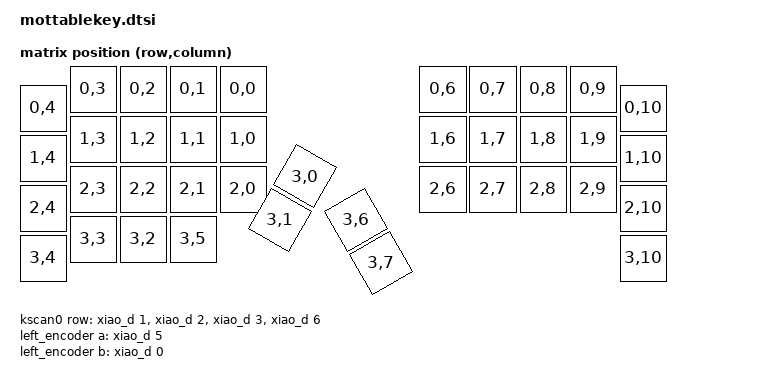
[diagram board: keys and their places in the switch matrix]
#include <dt-bindings/zmk/matrix_transform.h>
#include <physical_layouts.dtsi>

/ {
    chosen {
        zmk,physical-layout = &mottablekey_physical_layout;
    };

    mottablekey_physical_layout: mottablekey_physical_layout {
        compatible = "zmk,physical-layout";
        display-name = "Default";
        transform = <&default_transform>;
        kscan = <&kscan0>;

        keys
            = <&key_physical_attrs 100 100    0   38       0     0     0>
            , <&key_physical_attrs 100 100  100    0       0     0     0>
            , <&key_physical_attrs 100 100  200    0       0     0     0>
            , <&key_physical_attrs 100 100  300    0       0     0     0>
            , <&key_physical_attrs 100 100  400    0       0     0     0>
            , <&key_physical_attrs 100 100  800    0       0     0     0>
            , <&key_physical_attrs 100 100  900    0       0     0     0>
            , <&key_physical_attrs 100 100 1000    0       0     0     0>
            , <&key_physical_attrs 100 100 1100    0       0     0     0>
            , <&key_physical_attrs 100 100 1200   38       0     0     0>

            , <&key_physical_attrs 100 100    0  138       0     0     0>
            , <&key_physical_attrs 100 100  100  100       0     0     0>
            , <&key_physical_attrs 100 100  200  100       0     0     0>
            , <&key_physical_attrs 100 100  300  100       0     0     0>
            , <&key_physical_attrs 100 100  400  100       0     0     0>
            , <&key_physical_attrs 100 100  800  100       0     0     0>
            , <&key_physical_attrs 100 100  900  100       0     0     0>
            , <&key_physical_attrs 100 100 1000  100       0     0     0>
            , <&key_physical_attrs 100 100 1100  100       0     0     0>
            , <&key_physical_attrs 100 100 1200  138       0     0     0>

            , <&key_physical_attrs 100 100    0  238       0     0     0>
            , <&key_physical_attrs 100 100  100  200       0     0     0>
            , <&key_physical_attrs 100 100  200  200       0     0     0>
            , <&key_physical_attrs 100 100  300  200       0     0     0>
            , <&key_physical_attrs 100 100  400  200       0     0     0>
            , <&key_physical_attrs 100 100  800  200       0     0     0>
            , <&key_physical_attrs 100 100  900  200       0     0     0>
            , <&key_physical_attrs 100 100 1000  200       0     0     0>
            , <&key_physical_attrs 100 100 1100  200       0     0     0>
            , <&key_physical_attrs 100 100 1200  238       0     0     0>

            , <&key_physical_attrs 100 100    0  338       0     0     0>
            , <&key_physical_attrs 100 100  100  300       0     0     0>
            , <&key_physical_attrs 100 100  200  300       0     0     0>
            , <&key_physical_attrs 100 100  300  300       0     0     0>
            , <&key_physical_attrs 100 100  455  330 (-6000)   455   330>
            , <&key_physical_attrs 100 100  505  243 (-6000)   505   243>
            , <&key_physical_attrs 100 100  695  243    6000    695   243>
            , <&key_physical_attrs 100 100  745  330    6000    745   330>
            , <&key_physical_attrs 100 100 1200  338       0     0     0>
            ;
    };

    default_transform: keymap_transform_0 {
        compatible = "zmk,matrix-transform";
        columns = <11>;
        rows = <4>;
        map = <
            RC(0,4) RC(0,3) RC(0,2) RC(0,1) RC(0,0)                     RC(0,6) RC(0,7) RC(0,8) RC(0,9) RC(0,10)
            RC(1,4) RC(1,3) RC(1,2) RC(1,1) RC(1,0)                     RC(1,6) RC(1,7) RC(1,8) RC(1,9) RC(1,10)
            RC(2,4) RC(2,3) RC(2,2) RC(2,1) RC(2,0)                     RC(2,6) RC(2,7) RC(2,8) RC(2,9) RC(2,10)
            RC(3,4) RC(3,3) RC(3,2) RC(3,5) RC(3,1) RC(3,0)     RC(3,6) RC(3,7)                         RC(3,10)
        >;
    };

    kscan0: kscan {
        compatible = "zmk,kscan-gpio-matrix";
        label = "KSCAN";
        diode-direction = "col2row";
            row-gpios
                = <&xiao_d 1 (GPIO_ACTIVE_HIGH | GPIO_PULL_DOWN)>
                , <&xiao_d 2 (GPIO_ACTIVE_HIGH | GPIO_PULL_DOWN)>
                , <&xiao_d 3 (GPIO_ACTIVE_HIGH | GPIO_PULL_DOWN)>
                , <&xiao_d 6 (GPIO_ACTIVE_HIGH | GPIO_PULL_DOWN)>
                ;
    };

    left_encoder: encoder_left {
        compatible = "alps,ec11";
        a-gpios = <&xiao_d 5 (GPIO_ACTIVE_HIGH | GPIO_PULL_UP)>;
        b-gpios = <&xiao_d 0 (GPIO_ACTIVE_HIGH | GPIO_PULL_UP)>;
        steps = <24>;
        status = "disabled";
    };

    right_encoder: encoder_right {
        status = "disabled";
    };

    sensors: sensors {
        compatible = "zmk,keymap-sensors";
        sensors = <&left_encoder &right_encoder>;
        triggers-per-rotation = <10>;
    };
};
